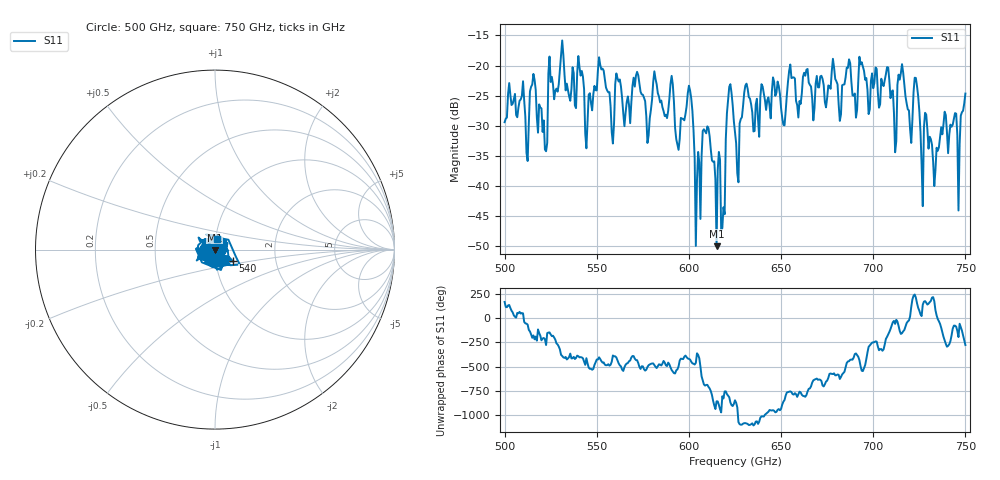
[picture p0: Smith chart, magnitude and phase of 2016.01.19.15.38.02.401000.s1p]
!Created with skrf (http://scikit-rf.org).
# GHz S RI R 50.0
!freq ReS11 ImS11
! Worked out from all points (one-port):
!   401 points, 500 GHz to 750 GHz, reference 50 ohm
!   lowest |S11| = -50.0 dB at 615 GHz (marker M1), VSWR 1.01, Z = 49.8 - j0.218 ohm
!   |S11| at or under -10 dB: start of sweep to end of sweep
!   S11 on the Smith chart (normalised r, x): 500 GHz: 0.94, +0.02; 540 GHz: 1.21, -0.16; 750 GHz: 1.01, +0.12
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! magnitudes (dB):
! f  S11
! 500 GHz  -29.4
! 511.9 GHz  -34.5
! 515.6 GHz  -21.4
! 521.9 GHz  -33.9
! 525 GHz  -22.7
! 531.2 GHz  -15.8
! 540 GHz  -18.4
! 545 GHz  -29.3
! 551.9 GHz  -19.9
! 558.1 GHz  -31.0
! 562.5 GHz  -22.3
! 578.1 GHz  -31.6
! 590.6 GHz  -21.7
! 593.8 GHz  -33.1
! 600.6 GHz  -24.1
! 605 GHz  -34.3
! 608.8 GHz  -30.9
! 615 GHz  -50.0
! 618.8 GHz  -43.5
! 621.9 GHz  -23.5
! 625 GHz  -31.1
! 656.2 GHz  -22.0
! 687.5 GHz  -19.6
! 718.8 GHz  -27.3
! 723.1 GHz  -22.1
! 726.2 GHz  -36.4
! 733.8 GHz  -37.4
! 750 GHz  -24.6
